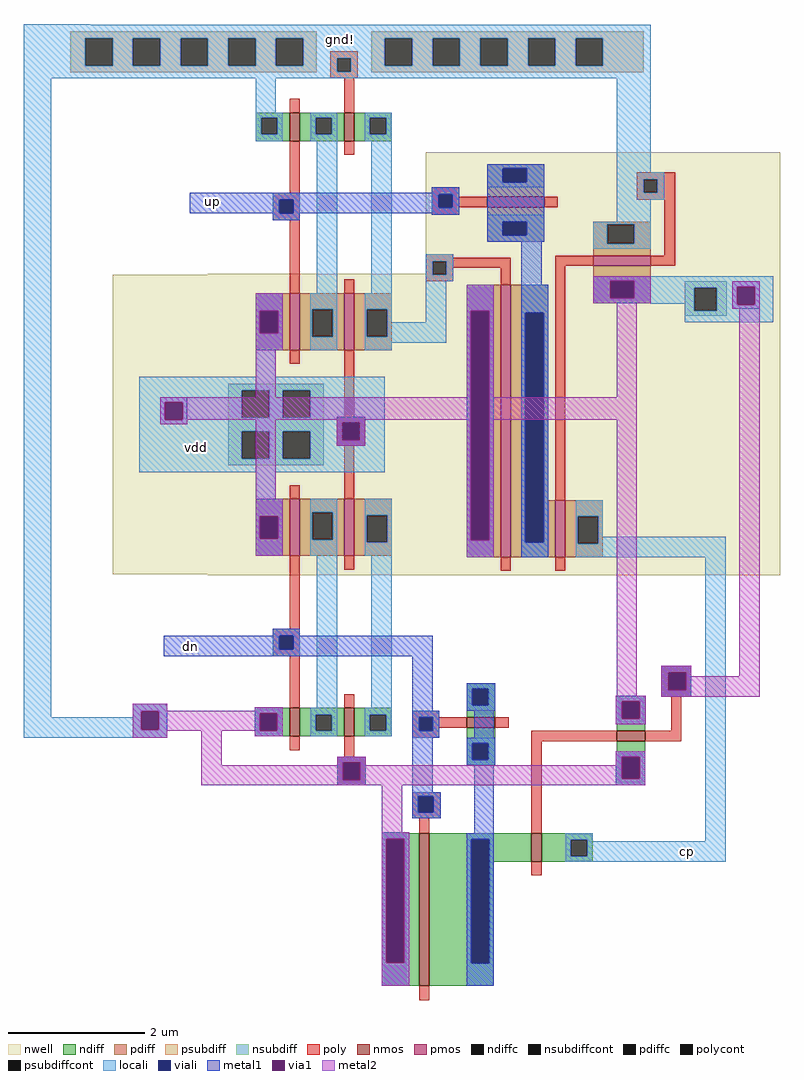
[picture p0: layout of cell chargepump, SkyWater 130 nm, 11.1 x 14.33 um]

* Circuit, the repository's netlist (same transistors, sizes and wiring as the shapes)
* NGSPICE file created from chargepump.ext - technology: sky130A


* Top level circuit chargepump

X0 a_1905_3929# gnd a_1825_3929# gnd sky130_fd_pr__nfet_01v8 w=420000u l=150000u
X1 gnd gnd vdd vdd sky130_fd_pr__pfet_01v8 w=840000u l=150000u
X2 a_2015_2996# dn a_2015_2996# gnd sky130_fd_pr__nfet_01v8 w=420000u l=150000u
X3 a_2015_2996# dn gnd gnd sky130_fd_pr__nfet_01v8 w=2.24e+06u l=150000u
X4 cp vdd a_2015_2996# gnd sky130_fd_pr__nfet_01v8 w=420000u l=150000u
X5 a_1905_3362# gnd a_1825_3362# gnd sky130_fd_pr__nfet_01v8 w=420000u l=150000u
X6 a_1825_3929# up gnd gnd sky130_fd_pr__nfet_01v8 w=420000u l=150000u
X7 a_2100_4088# up a_2100_4088# vdd sky130_fd_pr__pfet_01v8 w=840000u l=150000u
X8 cp gnd a_2100_4088# vdd sky130_fd_pr__pfet_01v8 w=840000u l=150000u
X9 a_1905_3362# vdd a_1825_3362# vdd sky130_fd_pr__pfet_01v8 w=840000u l=150000u
X10 a_1905_3929# vdd a_1825_3929# vdd sky130_fd_pr__pfet_01v8 w=840000u l=150000u
X11 a_1825_3362# dn gnd gnd sky130_fd_pr__nfet_01v8 w=420000u l=150000u
X12 a_1825_3362# dn vdd vdd sky130_fd_pr__pfet_01v8 w=840000u l=150000u
X13 a_1825_3929# up vdd vdd sky130_fd_pr__pfet_01v8 w=840000u l=150000u
X14 vdd vdd gnd gnd sky130_fd_pr__nfet_01v8 w=420000u l=150000u
X15 a_2100_4088# a_1905_3929# vdd vdd sky130_fd_pr__pfet_01v8 w=4e+06u l=150000u
.end

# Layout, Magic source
magic
tech sky130A
<< nwell >>
rect 2010 4041 2530 4220
rect 1690 4040 2530 4041
rect 1550 3600 2530 4040
rect 1690 3599 2530 3600
<< nmos >>
rect 1810 4236 1825 4278
rect 1890 4236 1905 4278
rect 1810 3362 1825 3404
rect 1890 3362 1905 3404
rect 2070 3375 2112 3390
rect 2290 3355 2332 3370
rect 2000 2996 2015 3220
rect 2165 3178 2180 3220
<< pmos >>
rect 2100 4139 2184 4154
rect 2256 4053 2340 4068
rect 1810 3929 1825 4013
rect 1890 3929 1905 4013
rect 1810 3627 1825 3711
rect 1890 3627 1905 3711
rect 2120 3625 2135 4025
rect 2200 3625 2215 3709
<< ndiff >>
rect 1760 4270 1810 4278
rect 1760 4246 1768 4270
rect 1792 4246 1810 4270
rect 1760 4236 1810 4246
rect 1825 4270 1890 4278
rect 1825 4246 1848 4270
rect 1872 4246 1890 4270
rect 1825 4236 1890 4246
rect 1905 4270 1960 4278
rect 1905 4246 1928 4270
rect 1952 4246 1960 4270
rect 1905 4236 1960 4246
rect 1759 3404 1800 3405
rect 2070 3432 2112 3440
rect 2070 3408 2078 3432
rect 2102 3408 2112 3432
rect 1759 3396 1810 3404
rect 1759 3370 1766 3396
rect 1792 3370 1810 3396
rect 1759 3362 1810 3370
rect 1825 3394 1890 3404
rect 1825 3370 1848 3394
rect 1872 3370 1890 3394
rect 1825 3362 1890 3370
rect 1905 3394 1960 3404
rect 1905 3370 1928 3394
rect 1952 3370 1960 3394
rect 1905 3362 1960 3370
rect 2070 3390 2112 3408
rect 2289 3414 2333 3422
rect 2289 3388 2298 3414
rect 2324 3388 2333 3414
rect 2289 3380 2333 3388
rect 2070 3352 2112 3375
rect 2290 3370 2332 3380
rect 2070 3328 2078 3352
rect 2102 3328 2112 3352
rect 2070 3320 2112 3328
rect 1945 3220 1986 3221
rect 2290 3340 2332 3355
rect 2289 3332 2332 3340
rect 2289 3300 2298 3332
rect 2324 3300 2332 3332
rect 2289 3290 2332 3300
rect 1945 3212 2000 3220
rect 1945 3030 1952 3212
rect 1978 3030 2000 3212
rect 1945 2996 2000 3030
rect 2015 3211 2165 3220
rect 2015 3029 2077 3211
rect 2103 3178 2165 3211
rect 2180 3210 2255 3220
rect 2180 3186 2223 3210
rect 2247 3186 2255 3210
rect 2180 3178 2255 3186
rect 2103 3029 2110 3178
rect 2015 2996 2110 3029
<< pdiff >>
rect 2100 4196 2184 4202
rect 2100 4176 2123 4196
rect 2158 4176 2184 4196
rect 2100 4154 2184 4176
rect 2100 4118 2184 4139
rect 2100 4098 2123 4118
rect 2158 4098 2184 4118
rect 2100 4088 2184 4098
rect 2256 4114 2340 4118
rect 2256 4085 2276 4114
rect 2316 4085 2340 4114
rect 2256 4068 2340 4085
rect 1760 3987 1810 4013
rect 1760 3954 1766 3987
rect 1793 3954 1810 3987
rect 1760 3929 1810 3954
rect 1825 3989 1890 4013
rect 1825 3949 1843 3989
rect 1873 3949 1890 3989
rect 1825 3929 1890 3949
rect 1905 3989 1960 4013
rect 1905 3949 1923 3989
rect 1953 3949 1960 3989
rect 1905 3929 1960 3949
rect 2070 3987 2120 4025
rect 1760 3685 1810 3711
rect 1760 3652 1766 3685
rect 1793 3652 1810 3685
rect 1760 3627 1810 3652
rect 1825 3691 1890 3711
rect 1825 3651 1843 3691
rect 1873 3651 1890 3691
rect 1825 3627 1890 3651
rect 1905 3687 1960 3711
rect 1905 3647 1923 3687
rect 1953 3647 1960 3687
rect 1905 3627 1960 3647
rect 2070 3650 2076 3987
rect 2103 3650 2120 3987
rect 2070 3625 2120 3650
rect 2135 3984 2190 4025
rect 2135 3647 2156 3984
rect 2183 3709 2190 3984
rect 2256 4031 2340 4053
rect 2256 4005 2281 4031
rect 2316 4005 2340 4031
rect 2256 3998 2340 4005
rect 2183 3647 2200 3709
rect 2135 3625 2200 3647
rect 2215 3685 2270 3709
rect 2215 3645 2233 3685
rect 2263 3645 2270 3685
rect 2215 3625 2270 3645
<< ndiffc >>
rect 1768 4246 1792 4270
rect 1848 4246 1872 4270
rect 1928 4246 1952 4270
rect 2078 3408 2102 3432
rect 1766 3370 1792 3396
rect 1848 3370 1872 3394
rect 1928 3370 1952 3394
rect 2298 3388 2324 3414
rect 2078 3328 2102 3352
rect 2298 3300 2324 3332
rect 1952 3030 1978 3212
rect 2077 3029 2103 3211
rect 2223 3186 2247 3210
<< pdiffc >>
rect 2123 4176 2158 4196
rect 2123 4098 2158 4118
rect 2276 4085 2316 4114
rect 1766 3954 1793 3987
rect 1843 3949 1873 3989
rect 1923 3949 1953 3989
rect 1766 3652 1793 3685
rect 1843 3651 1873 3691
rect 1923 3647 1953 3687
rect 2076 3650 2103 3987
rect 2156 3647 2183 3984
rect 2281 4005 2316 4031
rect 2233 3645 2263 3685
<< psubdiff >>
rect 1488 4387 1850 4397
rect 1488 4347 1510 4387
rect 1550 4347 1580 4387
rect 1620 4347 1650 4387
rect 1690 4347 1720 4387
rect 1760 4347 1790 4387
rect 1830 4347 1850 4387
rect 1930 4387 2330 4397
rect 1488 4337 1850 4347
rect 1930 4347 1950 4387
rect 1990 4347 2020 4387
rect 2060 4347 2090 4387
rect 2130 4347 2160 4387
rect 2200 4347 2230 4387
rect 2270 4347 2330 4387
rect 1930 4337 2330 4347
<< nsubdiff >>
rect 1720 3870 1860 3880
rect 1720 3830 1740 3870
rect 1780 3830 1800 3870
rect 1840 3830 1860 3870
rect 1720 3810 1860 3830
rect 1720 3770 1740 3810
rect 1780 3770 1800 3810
rect 1840 3770 1860 3810
rect 1720 3760 1860 3770
rect 2390 4021 2452 4030
rect 2390 3987 2404 4021
rect 2437 3987 2452 4021
rect 2390 3980 2452 3987
<< psubdiffcont >>
rect 1510 4347 1550 4387
rect 1580 4347 1620 4387
rect 1650 4347 1690 4387
rect 1720 4347 1760 4387
rect 1790 4347 1830 4387
rect 1950 4347 1990 4387
rect 2020 4347 2060 4387
rect 2090 4347 2130 4387
rect 2160 4347 2200 4387
rect 2230 4347 2270 4387
<< nsubdiffcont >>
rect 1740 3830 1780 3870
rect 1800 3830 1840 3870
rect 1740 3770 1780 3810
rect 1800 3770 1840 3810
rect 2404 3987 2437 4021
<< poly >>
rect 1870 4358 1910 4368
rect 1870 4338 1880 4358
rect 1900 4338 1910 4358
rect 1870 4328 1910 4338
rect 1810 4278 1825 4298
rect 1890 4278 1905 4328
rect 1810 4160 1825 4236
rect 1890 4216 1905 4236
rect 1785 4150 1825 4160
rect 1785 4130 1795 4150
rect 1815 4130 1825 4150
rect 1785 4120 1825 4130
rect 2019 4158 2059 4168
rect 2019 4138 2029 4158
rect 2049 4154 2059 4158
rect 2320 4180 2376 4190
rect 2320 4160 2330 4180
rect 2350 4160 2376 4180
rect 2049 4139 2100 4154
rect 2184 4139 2204 4154
rect 2320 4150 2376 4160
rect 2049 4138 2059 4139
rect 2019 4128 2059 4138
rect 1810 4013 1825 4120
rect 2010 4065 2050 4070
rect 2360 4068 2376 4150
rect 2010 4060 2135 4065
rect 2010 4040 2020 4060
rect 2040 4050 2135 4060
rect 2040 4040 2050 4050
rect 1890 4013 1905 4033
rect 2010 4030 2050 4040
rect 2120 4025 2135 4050
rect 2200 4053 2256 4068
rect 2340 4053 2376 4068
rect 1810 3909 1825 3929
rect 1890 3831 1905 3929
rect 1879 3823 1921 3831
rect 1879 3797 1887 3823
rect 1913 3797 1921 3823
rect 1879 3789 1921 3797
rect 1810 3711 1825 3731
rect 1890 3711 1905 3789
rect 1810 3520 1825 3627
rect 1890 3607 1905 3627
rect 2200 3709 2215 4053
rect 2120 3605 2135 3625
rect 2200 3605 2215 3625
rect 1785 3510 1825 3520
rect 1785 3490 1795 3510
rect 1815 3490 1825 3510
rect 1785 3480 1825 3490
rect 1810 3404 1825 3480
rect 2356 3456 2400 3466
rect 1890 3404 1905 3424
rect 2356 3430 2366 3456
rect 2392 3430 2400 3456
rect 1990 3390 2030 3400
rect 2356 3420 2400 3430
rect 1990 3370 2000 3390
rect 2020 3375 2070 3390
rect 2112 3375 2132 3390
rect 2020 3370 2030 3375
rect 1810 3342 1825 3362
rect 1890 3332 1905 3362
rect 1990 3360 2030 3370
rect 2370 3370 2385 3420
rect 1880 3324 1922 3332
rect 1880 3298 1888 3324
rect 1914 3298 1922 3324
rect 2165 3355 2290 3370
rect 2332 3355 2385 3370
rect 1880 3290 1922 3298
rect 1990 3274 2032 3280
rect 1990 3251 1999 3274
rect 2021 3251 2032 3274
rect 1990 3242 2032 3251
rect 2000 3220 2015 3242
rect 2165 3220 2180 3355
rect 2165 3158 2180 3178
rect 2000 2975 2015 2996
<< polycont >>
rect 1880 4338 1900 4358
rect 1795 4130 1815 4150
rect 2029 4138 2049 4158
rect 2330 4160 2350 4180
rect 2020 4040 2040 4060
rect 1887 3797 1913 3823
rect 1795 3490 1815 3510
rect 2366 3430 2392 3456
rect 2000 3370 2020 3390
rect 1888 3298 1914 3324
rect 1999 3251 2021 3274
<< locali >>
rect 1420 4407 1517 4408
rect 1420 4387 2340 4407
rect 1420 4347 1510 4387
rect 1550 4347 1580 4387
rect 1620 4347 1650 4387
rect 1690 4347 1720 4387
rect 1760 4347 1790 4387
rect 1830 4358 1950 4387
rect 1830 4347 1880 4358
rect 1420 4338 1880 4347
rect 1900 4347 1950 4358
rect 1990 4347 2020 4387
rect 2060 4347 2090 4387
rect 2130 4347 2160 4387
rect 2200 4347 2230 4387
rect 2270 4347 2340 4387
rect 1900 4338 2340 4347
rect 1420 4328 2340 4338
rect 1420 3390 1460 4328
rect 1760 4278 1790 4328
rect 1760 4270 1800 4278
rect 1760 4246 1768 4270
rect 1792 4246 1800 4270
rect 1760 4236 1800 4246
rect 1840 4270 1880 4278
rect 1840 4246 1848 4270
rect 1872 4246 1880 4270
rect 1840 4236 1880 4246
rect 1920 4270 1960 4278
rect 1920 4246 1928 4270
rect 1952 4246 1960 4270
rect 1920 4236 1960 4246
rect 1785 4150 1825 4160
rect 1785 4130 1795 4150
rect 1815 4130 1825 4150
rect 1785 4120 1825 4130
rect 1850 4013 1880 4236
rect 1930 4013 1960 4236
rect 2100 4196 2184 4202
rect 2100 4176 2123 4196
rect 2158 4176 2184 4196
rect 2100 4168 2184 4176
rect 2290 4190 2340 4328
rect 2290 4180 2360 4190
rect 2019 4158 2059 4168
rect 2019 4138 2029 4158
rect 2049 4138 2059 4158
rect 2019 4128 2059 4138
rect 2290 4160 2330 4180
rect 2350 4160 2360 4180
rect 2290 4150 2360 4160
rect 2100 4118 2184 4128
rect 2290 4118 2340 4150
rect 2100 4098 2123 4118
rect 2158 4098 2184 4118
rect 2100 4088 2184 4098
rect 2256 4114 2340 4118
rect 2256 4085 2276 4114
rect 2316 4085 2340 4114
rect 2256 4078 2340 4085
rect 1760 3987 1800 4013
rect 1760 3954 1766 3987
rect 1793 3954 1800 3987
rect 1760 3929 1800 3954
rect 1840 3989 1880 4013
rect 1840 3949 1843 3989
rect 1873 3949 1880 3989
rect 1840 3929 1880 3949
rect 1920 3989 1960 4013
rect 1920 3949 1923 3989
rect 1953 3970 1960 3989
rect 2010 4060 2050 4070
rect 2010 4040 2020 4060
rect 2040 4040 2050 4060
rect 2010 4030 2050 4040
rect 2256 4031 2520 4038
rect 2010 3970 2040 4030
rect 1953 3949 2040 3970
rect 1920 3940 2040 3949
rect 2070 3987 2110 4025
rect 1920 3929 1960 3940
rect 1760 3890 1790 3929
rect 1589 3870 1950 3890
rect 1589 3853 1740 3870
rect 1589 3827 1627 3853
rect 1653 3830 1740 3853
rect 1780 3830 1800 3870
rect 1840 3830 1950 3870
rect 1653 3827 1950 3830
rect 1589 3823 1950 3827
rect 1589 3810 1887 3823
rect 1589 3770 1740 3810
rect 1780 3770 1800 3810
rect 1840 3797 1887 3810
rect 1913 3797 1950 3823
rect 1840 3770 1950 3797
rect 1589 3750 1950 3770
rect 1760 3711 1790 3750
rect 1760 3685 1800 3711
rect 1760 3652 1766 3685
rect 1793 3652 1800 3685
rect 1760 3627 1800 3652
rect 1840 3691 1880 3711
rect 1840 3651 1843 3691
rect 1873 3651 1880 3691
rect 1840 3627 1880 3651
rect 1920 3687 1960 3711
rect 1920 3647 1923 3687
rect 1953 3647 1960 3687
rect 1920 3627 1960 3647
rect 1785 3510 1825 3520
rect 1785 3490 1795 3510
rect 1815 3490 1825 3510
rect 1785 3480 1825 3490
rect 1580 3399 1630 3410
rect 1580 3390 1592 3399
rect 1420 3372 1592 3390
rect 1618 3372 1630 3399
rect 1420 3360 1630 3372
rect 1759 3396 1800 3405
rect 1850 3404 1880 3627
rect 1930 3404 1960 3627
rect 2070 3650 2076 3987
rect 2103 3650 2110 3987
rect 2070 3625 2110 3650
rect 2150 3984 2190 4025
rect 2256 4005 2281 4031
rect 2316 4022 2520 4031
rect 2316 4021 2467 4022
rect 2316 4005 2404 4021
rect 2256 3998 2404 4005
rect 2340 3997 2404 3998
rect 2150 3647 2156 3984
rect 2183 3647 2190 3984
rect 2390 3987 2404 3997
rect 2437 3996 2467 4021
rect 2493 3996 2520 4022
rect 2437 3987 2520 3996
rect 2390 3970 2520 3987
rect 2150 3625 2190 3647
rect 2230 3685 2270 3709
rect 2230 3645 2233 3685
rect 2263 3655 2270 3685
rect 2263 3645 2450 3655
rect 2230 3625 2450 3645
rect 2356 3456 2400 3466
rect 1759 3370 1766 3396
rect 1792 3370 1800 3396
rect 1759 3362 1800 3370
rect 1840 3394 1880 3404
rect 1840 3370 1848 3394
rect 1872 3370 1880 3394
rect 1840 3362 1880 3370
rect 1920 3394 1960 3404
rect 2070 3432 2112 3440
rect 2070 3408 2078 3432
rect 2102 3408 2112 3432
rect 2356 3430 2366 3456
rect 2392 3430 2400 3456
rect 2070 3400 2112 3408
rect 2289 3414 2333 3422
rect 2356 3420 2400 3430
rect 1920 3370 1928 3394
rect 1952 3370 1960 3394
rect 1920 3362 1960 3370
rect 1990 3390 2030 3400
rect 1990 3370 2000 3390
rect 2020 3370 2030 3390
rect 2289 3388 2298 3414
rect 2324 3388 2333 3414
rect 2289 3380 2333 3388
rect 1990 3360 2030 3370
rect 2070 3352 2112 3360
rect 1880 3324 1922 3332
rect 1880 3298 1888 3324
rect 1914 3298 1922 3324
rect 2070 3328 2078 3352
rect 2102 3328 2112 3352
rect 2070 3320 2112 3328
rect 2289 3332 2332 3340
rect 1880 3290 1922 3298
rect 2289 3300 2298 3332
rect 2324 3300 2332 3332
rect 2289 3290 2332 3300
rect 1990 3274 2032 3280
rect 1990 3251 1999 3274
rect 2021 3251 2032 3274
rect 1990 3242 2032 3251
rect 1945 3212 1986 3221
rect 1945 3030 1952 3212
rect 1978 3030 1986 3212
rect 1945 2996 1986 3030
rect 2070 3211 2110 3220
rect 2070 3029 2077 3211
rect 2103 3029 2110 3211
rect 2215 3210 2255 3220
rect 2215 3186 2223 3210
rect 2247 3208 2255 3210
rect 2420 3208 2450 3625
rect 2247 3186 2450 3208
rect 2215 3178 2450 3186
rect 2070 2996 2110 3029
<< viali >>
rect 1795 4130 1815 4150
rect 2123 4176 2158 4196
rect 2029 4138 2049 4158
rect 2123 4098 2158 4118
rect 1766 3954 1793 3987
rect 1627 3827 1653 3853
rect 1887 3797 1913 3823
rect 1766 3652 1793 3685
rect 1795 3490 1815 3510
rect 1592 3372 1618 3399
rect 2076 3650 2103 3987
rect 2281 4005 2316 4031
rect 2156 3647 2183 3984
rect 2467 3996 2493 4022
rect 1766 3370 1792 3396
rect 2078 3408 2102 3432
rect 2366 3430 2392 3456
rect 2000 3370 2020 3390
rect 2298 3388 2324 3414
rect 1888 3298 1914 3324
rect 2078 3328 2102 3352
rect 2298 3300 2324 3332
rect 1999 3251 2021 3274
rect 1952 3030 1978 3212
rect 2077 3029 2103 3211
<< metal1 >>
rect 2100 4196 2184 4202
rect 2100 4176 2123 4196
rect 2158 4176 2184 4196
rect 2019 4160 2059 4168
rect 1663 4158 2059 4160
rect 1663 4150 2029 4158
rect 1663 4130 1795 4150
rect 1815 4138 2029 4150
rect 2049 4138 2059 4158
rect 1815 4130 2059 4138
rect 1785 4120 1825 4130
rect 2019 4128 2059 4130
rect 2100 4118 2184 4176
rect 2100 4098 2123 4118
rect 2158 4098 2184 4118
rect 2100 4088 2184 4098
rect 2150 4025 2180 4088
rect 2256 4031 2340 4038
rect 1760 3987 1800 4013
rect 1760 3954 1766 3987
rect 1793 3954 1800 3987
rect 1760 3929 1800 3954
rect 2070 3987 2110 4025
rect 1620 3853 1660 3860
rect 1620 3827 1627 3853
rect 1653 3827 1660 3853
rect 1620 3820 1660 3827
rect 1879 3823 1921 3831
rect 1879 3797 1887 3823
rect 1913 3797 1921 3823
rect 1879 3789 1921 3797
rect 1760 3685 1800 3711
rect 1760 3652 1766 3685
rect 1793 3652 1800 3685
rect 1760 3627 1800 3652
rect 2070 3650 2076 3987
rect 2103 3650 2110 3987
rect 2070 3625 2110 3650
rect 2150 3984 2190 4025
rect 2256 4005 2281 4031
rect 2316 4005 2340 4031
rect 2256 3998 2340 4005
rect 2460 4022 2500 4030
rect 2460 3996 2467 4022
rect 2493 3996 2500 4022
rect 2460 3990 2500 3996
rect 2150 3647 2156 3984
rect 2183 3647 2190 3984
rect 2150 3625 2190 3647
rect 1785 3510 1825 3520
rect 1625 3490 1795 3510
rect 1815 3490 2020 3510
rect 1625 3480 2020 3490
rect 1580 3399 1630 3410
rect 1580 3372 1592 3399
rect 1618 3372 1630 3399
rect 1580 3360 1630 3372
rect 1759 3396 1800 3405
rect 1759 3370 1766 3396
rect 1792 3370 1800 3396
rect 1759 3362 1800 3370
rect 1990 3400 2020 3480
rect 2356 3456 2400 3466
rect 2070 3432 2112 3440
rect 2070 3408 2078 3432
rect 2102 3408 2112 3432
rect 2356 3430 2366 3456
rect 2392 3430 2400 3456
rect 2070 3400 2112 3408
rect 2289 3414 2333 3422
rect 2356 3420 2400 3430
rect 1990 3390 2030 3400
rect 1990 3370 2000 3390
rect 2020 3370 2030 3390
rect 1990 3360 2030 3370
rect 2081 3360 2110 3400
rect 2289 3388 2298 3414
rect 2324 3388 2333 3414
rect 2289 3380 2333 3388
rect 1880 3324 1922 3332
rect 1880 3298 1888 3324
rect 1914 3298 1922 3324
rect 1880 3290 1922 3298
rect 1990 3280 2020 3360
rect 2070 3352 2112 3360
rect 2070 3328 2078 3352
rect 2102 3328 2112 3352
rect 2070 3320 2112 3328
rect 2289 3332 2332 3340
rect 1990 3274 2032 3280
rect 1990 3251 1999 3274
rect 2021 3251 2032 3274
rect 1990 3242 2032 3251
rect 1945 3212 1986 3221
rect 2081 3220 2110 3320
rect 2289 3300 2298 3332
rect 2324 3300 2332 3332
rect 2289 3290 2332 3300
rect 1945 3030 1952 3212
rect 1978 3030 1986 3212
rect 1945 2996 1986 3030
rect 2070 3211 2110 3220
rect 2070 3029 2077 3211
rect 2103 3029 2110 3211
rect 2070 2996 2110 3029
<< via1 >>
rect 1766 3954 1793 3987
rect 1627 3827 1653 3853
rect 1887 3797 1913 3823
rect 1766 3652 1793 3685
rect 2076 3650 2103 3987
rect 2281 4005 2316 4031
rect 2467 3996 2493 4022
rect 1592 3372 1618 3399
rect 1766 3370 1792 3396
rect 2366 3430 2392 3456
rect 2298 3388 2324 3414
rect 1888 3298 1914 3324
rect 2298 3300 2324 3332
rect 1952 3030 1978 3212
<< metal2 >>
rect 2256 4031 2340 4038
rect 1760 3987 1800 4013
rect 1760 3954 1766 3987
rect 1793 3954 1800 3987
rect 1760 3929 1800 3954
rect 2070 3987 2110 4025
rect 2256 4005 2281 4031
rect 2316 4005 2340 4031
rect 2256 3998 2340 4005
rect 2460 4022 2500 4030
rect 1760 3860 1790 3929
rect 2070 3860 2076 3987
rect 1620 3853 2076 3860
rect 1620 3827 1627 3853
rect 1653 3827 2076 3853
rect 1620 3820 1660 3827
rect 1760 3711 1790 3827
rect 1879 3823 1921 3827
rect 1879 3797 1887 3823
rect 1913 3797 1921 3823
rect 1879 3789 1921 3797
rect 1760 3685 1800 3711
rect 1760 3652 1766 3685
rect 1793 3652 1800 3685
rect 1760 3627 1800 3652
rect 2070 3650 2076 3827
rect 2103 3860 2110 3987
rect 2290 3860 2320 3998
rect 2460 3996 2467 4022
rect 2493 3996 2500 4022
rect 2460 3990 2500 3996
rect 2103 3827 2320 3860
rect 2103 3650 2110 3827
rect 2070 3625 2110 3650
rect 2290 3422 2320 3827
rect 2356 3456 2400 3466
rect 2356 3430 2366 3456
rect 2392 3450 2400 3456
rect 2470 3450 2500 3990
rect 2392 3430 2500 3450
rect 2289 3414 2333 3422
rect 2356 3420 2500 3430
rect 1580 3400 1630 3410
rect 1759 3400 1800 3405
rect 1580 3399 1800 3400
rect 1580 3372 1592 3399
rect 1618 3396 1800 3399
rect 1618 3372 1766 3396
rect 1580 3370 1766 3372
rect 1792 3370 1800 3396
rect 2289 3388 2298 3414
rect 2324 3388 2333 3414
rect 2289 3380 2333 3388
rect 1580 3360 1630 3370
rect 1680 3320 1710 3370
rect 1759 3362 1800 3370
rect 2289 3332 2332 3340
rect 1880 3324 1922 3332
rect 1880 3320 1888 3324
rect 1680 3298 1888 3320
rect 1914 3320 1922 3324
rect 2289 3320 2298 3332
rect 1914 3300 2298 3320
rect 2324 3300 2332 3332
rect 1914 3298 2332 3300
rect 1680 3290 2332 3298
rect 1945 3221 1975 3290
rect 1945 3212 1986 3221
rect 1945 3030 1952 3212
rect 1978 3030 1986 3212
rect 1945 2996 1986 3030
<< labels >>
rlabel locali 2378 3186 2410 3200 1 cp
rlabel metal1 1637 3487 1691 3502 1 dn
rlabel locali 1871 4378 1899 4393 1 gnd!
rlabel metal1 1683 4140 1711 4155 1 up
rlabel locali 1659 3778 1687 3793 1 vdd
<< end >>
